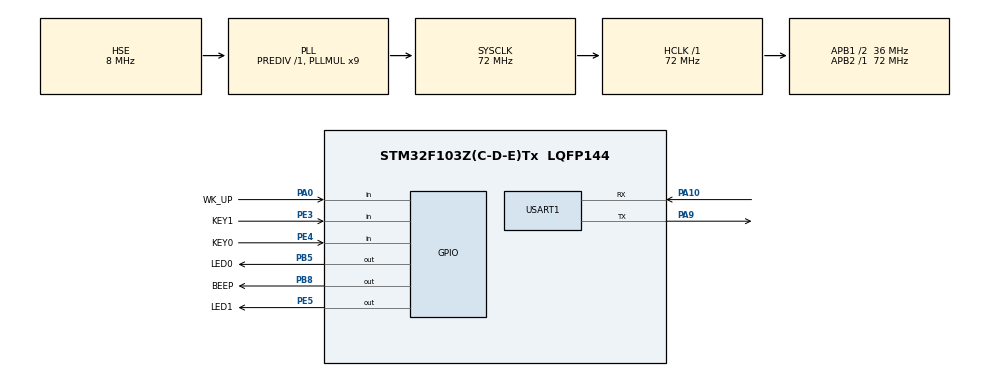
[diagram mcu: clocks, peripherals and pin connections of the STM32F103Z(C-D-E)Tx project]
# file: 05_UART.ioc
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Mcu.Family=STM32F1
Mcu.Name=STM32F103Z(C-D-E)Tx
Mcu.Package=LQFP144
NVIC.PriorityGroup=NVIC_PRIORITYGROUP_2
NVIC.USART1_IRQn=true\:2\:2\:true\:false\:true\:true\:true\:true
OSC_IN.Mode=HSE-External-Oscillator
OSC_IN.Signal=RCC_OSC_IN
OSC_OUT.Mode=HSE-External-Oscillator
OSC_OUT.Signal=RCC_OSC_OUT
PA0-WKUP.GPIO_Label=WK_UP
PA0-WKUP.GPIO_PuPd=GPIO_PULLDOWN
PA0-WKUP.Signal=GPIO_Input
PA10.Mode=Asynchronous
PA10.Signal=USART1_RX
PA13.Mode=Serial_Wire
PA13.Signal=SYS_JTMS-SWDIO
PA14.Mode=Serial_Wire
PA14.Signal=SYS_JTCK-SWCLK
PA9.Mode=Asynchronous
PA9.Signal=USART1_TX
PB5.GPIO_Label=LED0
PB5.GPIO_PuPd=GPIO_PULLUP
PB5.GPIO_Speed=GPIO_SPEED_FREQ_HIGH
PB5.PinState=GPIO_PIN_SET
PB5.Signal=GPIO_Output
PB8.GPIO_Label=BEEP
PB8.GPIO_ModeDefaultOutputPP=GPIO_MODE_OUTPUT_PP
PB8.GPIO_PuPd=GPIO_PULLDOWN
PB8.GPIO_Speed=GPIO_SPEED_FREQ_HIGH
PB8.PinState=GPIO_PIN_RESET
PB8.Signal=GPIO_Output
PC14-OSC32_IN.Mode=LSE-External-Oscillator
PC14-OSC32_IN.Signal=RCC_OSC32_IN
PC15-OSC32_OUT.Mode=LSE-External-Oscillator
PC15-OSC32_OUT.Signal=RCC_OSC32_OUT
PE3.GPIO_Label=KEY1
PE3.GPIO_PuPd=GPIO_PULLUP
PE3.Signal=GPIO_Input
PE4.GPIO_Label=KEY0
PE4.GPIO_PuPd=GPIO_PULLUP
PE4.Signal=GPIO_Input
PE5.GPIO_Label=LED1
PE5.GPIO_PuPd=GPIO_PULLUP
PE5.GPIO_Speed=GPIO_SPEED_FREQ_HIGH
PE5.PinState=GPIO_PIN_SET
PE5.Signal=GPIO_Output
ProjectManager.HeapSize=0x200
ProjectManager.StackSize=0x400
ProjectManager.TargetToolchain=STM32CubeIDE
RCC.AHBFreq_Value=72000000
RCC.APB1CLKDivider=RCC_HCLK_DIV2
RCC.APB1Freq_Value=36000000
RCC.APB1TimFreq_Value=72000000
RCC.APB2Freq_Value=72000000
RCC.APB2TimFreq_Value=72000000
RCC.HCLKFreq_Value=72000000
RCC.PLLMUL=RCC_PLL_MUL9
RCC.PLLSourceVirtual=RCC_PLLSOURCE_HSE
RCC.SYSCLKFreq_VALUE=72000000
RCC.SYSCLKSource=RCC_SYSCLKSOURCE_PLLCLK
RCC.USBFreq_Value=72000000
USART1.VirtualMode=VM_ASYNC
board=custom

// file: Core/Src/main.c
/* USER CODE BEGIN Header */
/**
 ****************************************************************************************************
 * @file        main.c
 * @author      正点原子团队(ALIENTEK)
 * @version     V1.0
 * @date        2024-01-01
 * @brief       串口通信 实验
 * @license     Copyright (c) 2020-2032, 广州市星翼电子科技有限公司
 ****************************************************************************************************
 * @attention
 *
 * 实验平台:正点原子 STM32F103开发板
 * 在线视频:www.yuanzige.com
 * 技术论坛:www.openedv.com
 * 公司网址:www.alientek.com
 * 购买地址:openedv.taobao.com
 *
 ****************************************************************************************************
 */
/* USER CODE END Header */
#include "main.h"
#include "usart.h"
#include "gpio.h"

/* USER CODE BEGIN Includes */
#include "../../BSP/LED/led.h"
#include "../../BSP/KEY/key.h"
#include "../../SYSTEM/delay/delay.h"
#include "../../SYSTEM/sys/sys.h"
/* USER CODE END Includes */

void SystemClock_Config(void);

int main(void)
{
  /* USER CODE BEGIN 1 */
    uint8_t len;
    uint16_t times = 0;
  /* USER CODE END 1 */

  /* MCU Configuration--------------------------------------------------------*/

  /* Reset of all peripherals, Initializes the Flash interface and the Systick. */
  HAL_Init();

  /* Configure the system clock */
  SystemClock_Config();

  /* USER CODE BEGIN SysInit */
  delay_init(72);						   /* 初始化延时函数 */
  /* USER CODE END SysInit */

  /* Initialize all configured peripherals */
  MX_GPIO_Init();
  MX_USART1_UART_Init();

  /* Infinite loop */
  /* USER CODE BEGIN WHILE */
  while (1)
  {
	  if (g_usart_rx_sta & 0x8000)        /* 接收到了数据? */
	  {
		  len = g_usart_rx_sta & 0x3fff;  /* 得到此次接收到的数据长度 */
		  printf("\r\n您发送的消息为:\r\n");

		  HAL_UART_Transmit(&huart1,(uint8_t*)g_usart_rx_buf, len, 1000);    /* 发送接收到的数据 */
		  while(__HAL_UART_GET_FLAG(&huart1, UART_FLAG_TC) != SET);          /* 等待发送结束 */
		  printf("\r\n\r\n");             /* 插入换行 */
		  g_usart_rx_sta = 0;
	  }
	  else
	  {
		  times++;

		  if (times % 5000 == 0)
		  {
			  printf("\r\n正点原子 STM32开发板 串口实验\r\n");
			  printf("正点原子@ALIENTEK\r\n\r\n\r\n");
		  }

		  if (times % 200 == 0) printf("请输入数据,以回车键结束\r\n");

		  if (times % 30  == 0) LED0_TOGGLE(); /* 闪烁LED,提示系统正在运行. */

		  delay_ms(10);
	  }

    /* USER CODE END WHILE */

  }
}

void SystemClock_Config(void)
{
  RCC_OscInitTypeDef RCC_OscInitStruct = {0};
  RCC_ClkInitTypeDef RCC_ClkInitStruct = {0};

  /** Initializes the RCC Oscillators according to the specified parameters
  * in the RCC_OscInitTypeDef structure.
  */
  RCC_OscInitStruct.OscillatorType = RCC_OSCILLATORTYPE_HSE;
  RCC_OscInitStruct.HSEState = RCC_HSE_ON;
  RCC_OscInitStruct.HSEPredivValue = RCC_HSE_PREDIV_DIV1;
  RCC_OscInitStruct.HSIState = RCC_HSI_ON;
  RCC_OscInitStruct.PLL.PLLState = RCC_PLL_ON;
  RCC_OscInitStruct.PLL.PLLSource = RCC_PLLSOURCE_HSE;
  RCC_OscInitStruct.PLL.PLLMUL = RCC_PLL_MUL9;
  if (HAL_RCC_OscConfig(&RCC_OscInitStruct) != HAL_OK)
  {
    Error_Handler();
  }

  /** Initializes the CPU, AHB and APB buses clocks
  */
  RCC_ClkInitStruct.ClockType = RCC_CLOCKTYPE_HCLK|RCC_CLOCKTYPE_SYSCLK
                              |RCC_CLOCKTYPE_PCLK1|RCC_CLOCKTYPE_PCLK2;
  RCC_ClkInitStruct.SYSCLKSource = RCC_SYSCLKSOURCE_PLLCLK;
  RCC_ClkInitStruct.AHBCLKDivider = RCC_SYSCLK_DIV1;
  RCC_ClkInitStruct.APB1CLKDivider = RCC_HCLK_DIV2;
  RCC_ClkInitStruct.APB2CLKDivider = RCC_HCLK_DIV1;

  if (HAL_RCC_ClockConfig(&RCC_ClkInitStruct, FLASH_LATENCY_2) != HAL_OK)
  {
    Error_Handler();
  }
}

void Error_Handler(void)
{
  __disable_irq();
  while (1)
  {
  }
}
